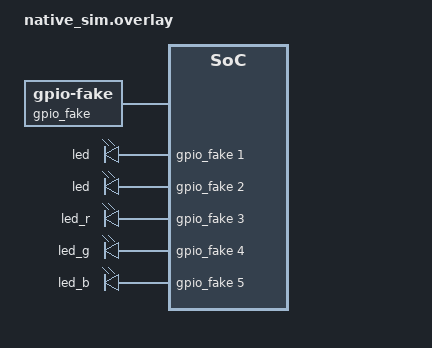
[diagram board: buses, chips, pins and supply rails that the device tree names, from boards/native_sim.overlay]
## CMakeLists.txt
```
# Copyright (c) 2026 BayLibre SAS
# SPDX-License-Identifier: Apache-2.0

cmake_minimum_required(VERSION 3.20.0)
find_package(Zephyr REQUIRED HINTS $ENV{ZEPHYR_BASE})
project(subsys_led_player_tests)

target_sources(app PRIVATE src/main.c)
```

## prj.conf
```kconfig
# Copyright (c) 2026 BayLibre SAS
# SPDX-License-Identifier: Apache-2.0

CONFIG_ZTEST=y

CONFIG_GPIO=y
CONFIG_GPIO_FAKE=y
CONFIG_LED=y
CONFIG_LED_GPIO=y
CONFIG_LED_PLAYER=y
```

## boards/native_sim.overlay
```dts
#include <zephyr/dt-bindings/gpio/gpio.h>

/ {
        gpio_fake: gpio_fake {
                status = "okay";
                compatible = "zephyr,gpio-fake";
                gpio-controller;
                #gpio-cells = <2>;
        };

	led_0: led_0 {
		compatible = "gpio-leds";
		led {
			gpios = <&gpio_fake 1 GPIO_ACTIVE_HIGH>;
		};
	};

	led_1: led_1 {
		compatible = "gpio-leds";
		led {
			gpios = <&gpio_fake 2 GPIO_ACTIVE_HIGH>;
		};
	};

	led_2: led_2 {
		compatible = "gpio-leds";
		led_r {
			gpios = <&gpio_fake 3 GPIO_ACTIVE_HIGH>;
		};

		led_g {
			gpios = <&gpio_fake 4 GPIO_ACTIVE_HIGH>;
		};

		led_b {
			gpios = <&gpio_fake 5 GPIO_ACTIVE_HIGH>;
		};
	};
};
```

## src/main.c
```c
/*
 * Copyright (c) 2026 BayLibre SAS
 * SPDX-License-Identifier: Apache-2.0
 */

#include <zephyr/ztest.h>
#include <zephyr/kernel.h>
#include <zephyr/drivers/gpio.h>
#include <zephyr/drivers/gpio/gpio_fake.h>

#include <zephyr/fff.h>
DEFINE_FFF_GLOBALS;

#include <zephyr/led/led_player.h>

#define LED0_DEV DEVICE_DT_GET(DT_NODELABEL(led_0))
#define LED1_DEV DEVICE_DT_GET(DT_NODELABEL(led_1))
#define LED2_DEV DEVICE_DT_GET(DT_NODELABEL(led_2))

static struct gpio_dt_spec led0_gpio = GPIO_DT_SPEC_GET(DT_PATH(led_0, led), gpios);
static struct gpio_dt_spec led1_gpio = GPIO_DT_SPEC_GET(DT_PATH(led_1, led), gpios);

static struct led_anim_frame test_frames1[] = 
{
	{
		.delay_ms = 1000,
		.state = 1,
	},
	{
		.delay_ms = 2000,
		.state = 0,
	}
};

struct led_anim test_anim1 = {
	.frames = test_frames1,
	.count = ARRAY_SIZE(test_frames1),
	.loop = 1,
};

static struct led_anim_frame test_frames2[] = 
{
	{
		.delay_ms = 500,
		.state = 1,
	},
	{
		.delay_ms = 500,
		.state = 0,
	}
};

struct led_anim test_anim2 = {
	.frames = test_frames2,
	.count = ARRAY_SIZE(test_frames2),
	.loop = 1,
};

struct led_anim test_anim3 = {
	.frames = test_frames2,
	.count = ARRAY_SIZE(test_frames2),
	.loop = 0,
};

ZTEST(led_player, test_led_anim_get_next_anim_deadline_invalid_vals)
{
	struct led_anim_player player;
	struct led_anim_data *data;
	uint32_t deadline;

	/* In case of error, dealy should be 0 */
	deadline = led_anim_get_next_anim_deadline(NULL, &data);
	zassert_equal(deadline, 0);

	/* In case of error, dealy should be 0 */
	deadline = led_anim_get_next_anim_deadline(&player, NULL);
	zassert_equal(deadline, 0);
}

ZTEST(led_player, test_led_anim_get_next_anim_deadline)
{
	struct led_anim_data *data;
	struct led_anim_data data1 = { .deadline = 34};
	struct led_anim_data data2 = { .deadline = 2 };
	struct led_anim_data data3 = { .deadline = 21 };
	struct led_anim_player player;
	uint32_t deadline;

	sys_slist_init(&player.list);
	sys_slist_prepend(&player.list, &data1.node);
	sys_slist_prepend(&player.list, &data2.node);
	sys_slist_prepend(&player.list, &data3.node);

	deadline = led_anim_get_next_anim_deadline(&player, &data);
	zassert_equal(deadline, 2);

	/* A deadline of 0 mean animation is not running and should skipped */
	data2.deadline = 0;
	deadline = led_anim_get_next_anim_deadline(&player, &data);
	zassert_equal(deadline, 21);

	/* If there is not animation loaded, should return 0*/
	sys_slist_init(&player.list);
	deadline = led_anim_get_next_anim_deadline(&player, &data);
	zassert_equal(deadline, 0);
}

ZTEST(led_player, test_led_anim_init_invalid_vals)
{
	static struct led_anim_data data1;
	int ret;

	ret = led_anim_init(NULL, LED0_DEV, 0, &test_anim1);
	zassert_equal(ret, -EINVAL);

	ret = led_anim_init(&data1, NULL, 0, &test_anim1);
	zassert_equal(ret, -EINVAL);

	ret = led_anim_init(&data1, LED0_DEV, 0, NULL);
	zassert_equal(ret, -EINVAL);
}

ZTEST(led_player, test_led_anim_init)
{
	static struct led_anim_data data1;
	int ret;

	ret = led_anim_init(&data1, LED0_DEV, 0, &test_anim1);
	zassert_equal(ret, 0);
	zassert_equal(data1.dev, LED0_DEV);
	zassert_equal(data1.led, 0);
	zassert_equal_ptr(data1.anim, &test_anim1);
	zassert_equal(data1.current_frame, 0);
	zassert_equal(data1.deadline, 0);
}

ZTEST(led_player, test_led_anim_play_frame_invalid_vals)
{
	static struct led_anim_data data1;
	int ret;

	ret = led_anim_init(&data1, LED0_DEV, 0, &test_anim1);
	zassert_equal(ret, 0);

	ret = led_anim_play_frame(NULL);
	zassert_equal(ret, -EINVAL);
}

ZTEST(led_player, test_led_anim_play_frame)
{
	static struct led_anim_data data1;
	int ret;

	ret = led_anim_init(&data1, LED0_DEV, 0, &test_anim1);
	zassert_equal(ret, 0);

	ret = led_anim_play_frame(&data1);
	zassert_equal(ret, 0);
	zassert_equal(gpio_fake_port_set_bits_raw_fake.arg0_history[0], led0_gpio.port);
	zassert_equal(gpio_fake_port_set_bits_raw_fake.arg1_history[0], BIT(led0_gpio.pin));

	ret = led_anim_play_frame(&data1);
	zassert_equal(ret, 0);
	zassert_equal(gpio_fake_port_clear_bits_raw_fake.arg0_history[0], led0_gpio.port);
	zassert_equal(gpio_fake_port_clear_bits_raw_fake.arg1_history[0], BIT(led0_gpio.pin));

	ret = led_anim_play_frame(&data1);
	zassert_equal(ret, -ENOENT);
	zassert_equal(gpio_fake_port_clear_bits_raw_fake.call_count, 1);
	zassert_equal(gpio_fake_port_set_bits_raw_fake.call_count, 1);
}

ZTEST(led_player, test_led_anim_schedule_next_invalid_vals)
{
	int ret;

	ret = led_anim_schedule_next(NULL);
	zassert_equal(ret, -EINVAL);
}

ZTEST(led_player, test_led_anim_schedule_next)
{
	struct led_anim_player player;
	static struct led_anim_data data1;
	int ret;

	led_anim_player_do_init(&player);
	led_anim_init(&data1, LED0_DEV, 0, &test_anim1);

	ret = led_anim_schedule_next(&player);
	zassert_equal(ret, 0);

	/* Prepare manually the anim to play and run it */
	k_sleep(K_MSEC(1000)); /* Prevent an uptime of 0*/
	data1.deadline = k_uptime_get() - 1;
	sys_slist_prepend(&player.list, &data1.node);
	ret = led_anim_schedule_next(&player);
	zassert_equal(ret, 0);

	/* Give some time to run animation */
	k_sleep(K_MSEC(5000));

	zassert_equal(gpio_fake_port_set_bits_raw_fake.arg0_history[0], led0_gpio.port);
	zassert_equal(gpio_fake_port_set_bits_raw_fake.arg1_history[0], BIT(led0_gpio.pin));
	zassert_equal(gpio_fake_port_clear_bits_raw_fake.arg0_history[0], led0_gpio.port);
	zassert_equal(gpio_fake_port_clear_bits_raw_fake.arg1_history[0], BIT(led0_gpio.pin));
	zassert_equal(gpio_fake_port_clear_bits_raw_fake.call_count, 1);
	zassert_equal(gpio_fake_port_set_bits_raw_fake.call_count, 1);
}

ZTEST(led_player, test_led_anim_schedule_next_multiple_led)
{
	struct led_anim_player player;
	static struct led_anim_data data1;
	static struct led_anim_data data2;
	int ret;

	led_anim_player_do_init(&player);
	led_anim_init(&data1, LED0_DEV, 0, &test_anim1);
	led_anim_init(&data2, LED1_DEV, 0, &test_anim1);

	/* Prepare manually the anim to play and run it */
	k_sleep(K_MSEC(1000)); /* Prevent an uptime of 0*/
	data1.deadline = k_uptime_get();
	data2.deadline = k_uptime_get() + 500;
	sys_slist_prepend(&player.list, &data1.node);
	sys_slist_prepend(&player.list, &data2.node);
	ret = led_anim_schedule_next(&player);
	zassert_equal(ret, 0);

	/* Give some time to run animation */
	k_sleep(K_MSEC(5000));

	zassert_equal(gpio_fake_port_set_bits_raw_fake.arg0_history[0], led0_gpio.port);
	zassert_equal(gpio_fake_port_set_bits_raw_fake.arg1_history[0], BIT(led0_gpio.pin));
	zassert_equal(gpio_fake_port_set_bits_raw_fake.arg0_history[1], led1_gpio.port);
	zassert_equal(gpio_fake_port_set_bits_raw_fake.arg1_history[1], BIT(led1_gpio.pin));
	zassert_equal(gpio_fake_port_clear_bits_raw_fake.arg0_history[0], led0_gpio.port);
	zassert_equal(gpio_fake_port_clear_bits_raw_fake.arg1_history[0], BIT(led0_gpio.pin));
	zassert_equal(gpio_fake_port_clear_bits_raw_fake.arg0_history[1], led1_gpio.port);
	zassert_equal(gpio_fake_port_clear_bits_raw_fake.arg1_history[1], BIT(led1_gpio.pin));
	zassert_equal(gpio_fake_port_clear_bits_raw_fake.call_count, 2);
	zassert_equal(gpio_fake_port_set_bits_raw_fake.call_count, 2);
}

ZTEST(led_player, test_led_anim_schedule_next_multiple_led_and_anim)
{
	struct led_anim_player player;
	static struct led_anim_data data1;
	static struct led_anim_data data2;
	int ret;

	led_anim_player_do_init(&player);
	led_anim_init(&data1, LED0_DEV, 0, &test_anim1);
	led_anim_init(&data2, LED1_DEV, 0, &test_anim2);

	/* Prepare manually the anim to play and run it */
	k_sleep(K_MSEC(1000)); /* Prevent an uptime of 0*/
	data1.deadline = k_uptime_get();
	data2.deadline = k_uptime_get() + 100;
	sys_slist_prepend(&player.list, &data1.node);
	sys_slist_prepend(&player.list, &data2.node);
	ret = led_anim_schedule_next(&player);
	zassert_equal(ret, 0);

	/* Give some time to run animation */
	k_sleep(K_MSEC(5000));

	zassert_equal(gpio_fake_port_set_bits_raw_fake.arg0_history[0], led0_gpio.port);
	zassert_equal(gpio_fake_port_set_bits_raw_fake.arg1_history[0], BIT(led0_gpio.pin));
	zassert_equal(gpio_fake_port_set_bits_raw_fake.arg0_history[1], led1_gpio.port);
	zassert_equal(gpio_fake_port_set_bits_raw_fake.arg1_history[1], BIT(led1_gpio.pin));
	zassert_equal(gpio_fake_port_clear_bits_raw_fake.arg0_history[0], led1_gpio.port);
	zassert_equal(gpio_fake_port_clear_bits_raw_fake.arg1_history[0], BIT(led1_gpio.pin));
	zassert_equal(gpio_fake_port_clear_bits_raw_fake.arg0_history[1], led0_gpio.port);
	zassert_equal(gpio_fake_port_clear_bits_raw_fake.arg1_history[1], BIT(led0_gpio.pin));
	zassert_equal(gpio_fake_port_clear_bits_raw_fake.call_count, 2);
	zassert_equal(gpio_fake_port_set_bits_raw_fake.call_count, 2);
}

ZTEST(led_player, test_led_anim_schedule_next_loop)
{
	struct k_work_sync sync;
	struct led_anim_player player;
	static struct led_anim_data data1;
	int ret;

	led_anim_player_do_init(&player);
	led_anim_init(&data1, LED0_DEV, 0, &test_anim3);

	/* Prepare manually the anim to play and run it */
	k_sleep(K_MSEC(1000)); /* Prevent an uptime of 0*/
	data1.deadline = k_uptime_get();
	sys_slist_prepend(&player.list, &data1.node);
	ret = led_anim_schedule_next(&player);
	zassert_equal(ret, 0);

	/* Give some time to run animation */
	k_sleep(K_MSEC(5000));

	/* The anim is set to infinite, so we need to stop it to let the test finish */
	k_work_cancel_delayable_sync(&player.dwork, &sync);

	for (int i = 0; i < 4; i++) {
		zassert_equal(gpio_fake_port_set_bits_raw_fake.arg0_history[i], led0_gpio.port);
		zassert_equal(gpio_fake_port_set_bits_raw_fake.arg1_history[i], BIT(led0_gpio.pin));
		zassert_equal(gpio_fake_port_clear_bits_raw_fake.arg0_history[i], led0_gpio.port);
		zassert_equal(gpio_fake_port_clear_bits_raw_fake.arg1_history[i], BIT(led0_gpio.pin));
	}
}

ZTEST(led_player, test_led_anim_play_anim_invalid_vals)
{
	static struct led_anim_data data1;
	int ret;

	ret = led_anim_init(&data1, LED0_DEV, 0, &test_anim1);
	zassert_equal(ret, 0);

	ret = led_anim_play_anim(NULL);
	zassert_equal(ret, -EINVAL);
}

ZTEST(led_player, test_led_anim_play_anim)
{
	static struct led_anim_data data1;
	int ret;

	led_anim_init(&data1, LED0_DEV, 0, &test_anim1);

	k_sleep(K_MSEC(1000)); /* Prevent an uptime of 0 */

	ret = led_anim_play_anim(&data1);
	zassert_equal(ret, 0);

	/* Give some time to run animation */
	k_sleep(K_MSEC(5000));

	zassert_equal(gpio_fake_port_set_bits_raw_fake.arg0_history[0], led0_gpio.port);
	zassert_equal(gpio_fake_port_set_bits_raw_fake.arg1_history[0], BIT(led0_gpio.pin));
	zassert_equal(gpio_fake_port_clear_bits_raw_fake.arg0_history[0], led0_gpio.port);
	zassert_equal(gpio_fake_port_clear_bits_raw_fake.arg1_history[0], BIT(led0_gpio.pin));
	zassert_equal(gpio_fake_port_clear_bits_raw_fake.call_count, 1);
	zassert_equal(gpio_fake_port_set_bits_raw_fake.call_count, 1);
}

ZTEST(led_player, test_led_anim_stop_anim_invalid_vals)
{
	static struct led_anim_data data1;
	int ret;

	ret = led_anim_init(&data1, LED0_DEV, 0, &test_anim1);
	zassert_equal(ret, 0);

	ret = led_anim_stop_anim(NULL);
	zassert_equal(ret, -EINVAL);
}

ZTEST(led_player, test_led_anim_stop_anim)
{
	static struct led_anim_data data1;
	int count_clear, count_set;
	int ret;

	led_anim_init(&data1, LED0_DEV, 0, &test_anim3);

	k_sleep(K_MSEC(1000)); /* Prevent an uptime of 0 */

	led_anim_play_anim(&data1);

	/* Give some time to run animation */
	k_sleep(K_MSEC(5000));

	ret = led_anim_stop_anim(&data1);
	zassert_equal(ret, 0);

	/* Make sure anim has been stopped */
	count_clear = gpio_fake_port_clear_bits_raw_fake.call_count;
	count_set = gpio_fake_port_set_bits_raw_fake.call_count;
	k_sleep(K_MSEC(5000));
	zassert_equal(gpio_fake_port_clear_bits_raw_fake.call_count, count_clear);
	zassert_equal(gpio_fake_port_set_bits_raw_fake.call_count, count_set);
}

ZTEST(led_player, test_led_anim_stop_anim_one_of_two)
{
	static struct led_anim_data data1;
	static struct led_anim_data data2;
	int count_clear, count_set;
	int ret;

	led_anim_init(&data1, LED0_DEV, 0, &test_anim3);
	led_anim_init(&data2, LED1_DEV, 0, &test_anim3);

	k_sleep(K_MSEC(1000)); /* Prevent an uptime of 0 */

	led_anim_play_anim(&data1);
	led_anim_play_anim(&data2);

	/* Give some time to run animation */
	k_sleep(K_MSEC(5000));

	ret = led_anim_stop_anim(&data1);
	zassert_equal(ret, 0);

	/* Make sure that we still have an anim running */
	count_clear = gpio_fake_port_clear_bits_raw_fake.call_count;
	count_set = gpio_fake_port_set_bits_raw_fake.call_count;
	k_sleep(K_MSEC(5000));
	zassert_not_equal(gpio_fake_port_clear_bits_raw_fake.call_count, count_clear);
	zassert_not_equal(gpio_fake_port_set_bits_raw_fake.call_count, count_set);

	led_anim_stop_anim(&data2);
}

ZTEST(led_player, test_led_anim_stop_anim_already_stopped)
{
	static struct led_anim_data data1;
	int ret;

	led_anim_init(&data1, LED0_DEV, 0, &test_anim1);

	k_sleep(K_MSEC(1000)); /* Prevent an uptime of 0 */

	led_anim_play_anim(&data1);

	/* Give some time to run animation. Anim should have stop */
	k_sleep(K_MSEC(5000));

	ret = led_anim_stop_anim(&data1);
	zassert_equal(ret, 0);
}


ZTEST_SUITE(led_player, NULL, NULL, NULL, NULL, NULL);
```
